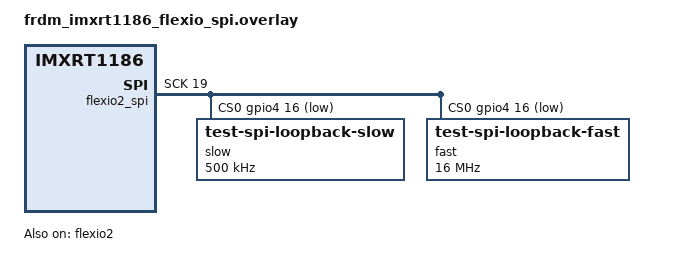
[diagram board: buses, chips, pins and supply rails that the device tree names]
/*
 * SPDX-FileCopyrightText: Copyright 2026 NXP
 * SPDX-License-Identifier: Apache-2.0
 */

/* Move J32 and J31 to 2-3, then short J51-6 <-> J51-12 for the loopback. */

&lpi2c3 {
	status = "disabled";
};

&pinctrl {
	pinmux_flexio2_spi: pinmux_flexio2_spi {
		group0 {
			pinmux = <&iomuxc_gpio_ad_16_gpio4_io16>,  /* cs  */
				 <&iomuxc_gpio_ad_17_flexio2_d17>, /* sdo */
				 <&iomuxc_gpio_ad_18_flexio2_d18>, /* sdi */
				 <&iomuxc_gpio_ad_19_flexio2_d19>; /* sck */
			drive-strength = "high";
			slew-rate = "slow";
		};
	};
};

&flexio2 {
	status = "okay";

	flexio2_spi: flexio2_spi {
		compatible = "nxp,flexio-spi";
		cs-gpios = <&gpio4 16 GPIO_ACTIVE_LOW>;
		#address-cells = <1>;
		#size-cells = <0>;
		sdo-pin = <17>;
		sdi-pin = <18>;
		sck-pin = <19>;
		pinctrl-0 = <&pinmux_flexio2_spi>;
		pinctrl-names = "default";
		status = "okay";

		slow@0 {
			compatible = "test-spi-loopback-slow";
			reg = <0>;
			spi-max-frequency = <500000>;
		};

		fast@0 {
			compatible = "test-spi-loopback-fast";
			reg = <0>;
			spi-max-frequency = <16000000>;
		};
	};
};
